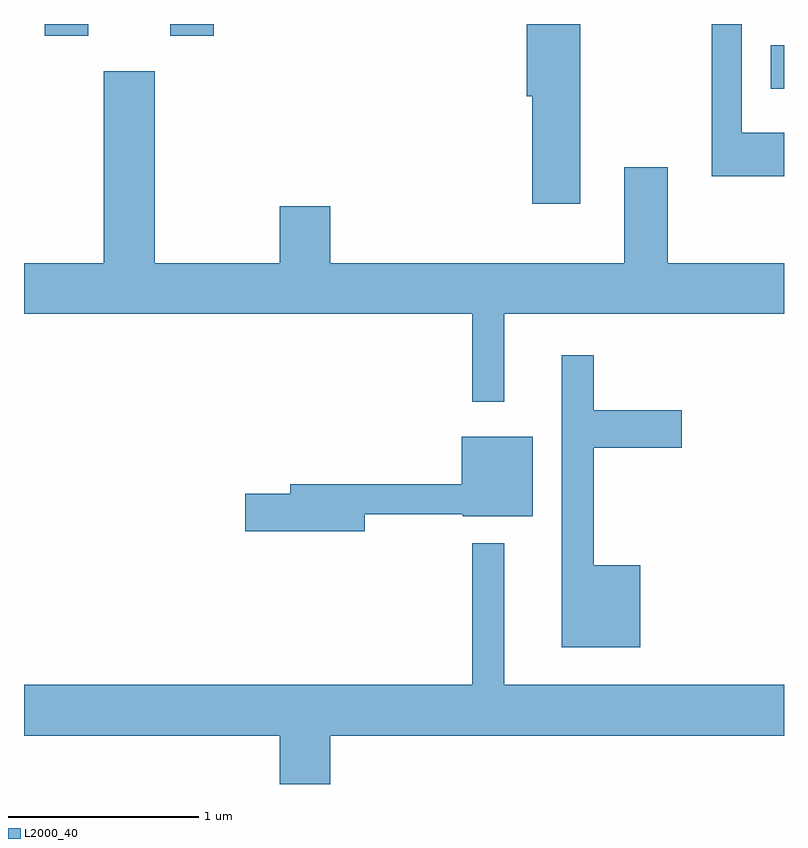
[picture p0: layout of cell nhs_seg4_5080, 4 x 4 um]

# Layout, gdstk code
import gdstk
lib = gdstk.Library(unit=1e-6, precision=1e-09)
def R(c, l, rs):  # rectangles x0, y0, x1, y1
    for r in rs: c.add(gdstk.rectangle(r[:2], r[2:], *l))
def P(c, l, *ps):  # polygons
    for p in ps: c.add(gdstk.Polygon(p, *l))
L2000_40 = (2000, 40)

nhs_seg4_5080 = lib.new_cell('nhs_seg4_5080')
R(nhs_seg4_5080, L2000_40, [(337.541,1353.641,337.611,1353.869), (333.721,1353.921,333.949,1353.982), (334.381,1353.921,334.609,1353.982)])
P(nhs_seg4_5080, L2000_40, [(337.611,1353.409),(337.389,1353.409),(337.389,1353.982),(337.231,1353.982),(337.231,1353.181),(337.611,1353.181)],
  [(336.539,1353.982),(336.256,1353.982),(336.256,1353.601),(336.286,1353.601),(336.286,1353.036),(336.539,1353.036)],
  [(336.139,1352.456),(337.611,1352.456),(337.611,1352.724),(336.999,1352.724),(336.999,1353.229),(336.771,1353.229),(336.771,1352.724),(335.224,1352.724),(335.224,1353.024),(334.956,1353.024),(334.956,1352.724),(334.299,1352.724),(334.299,1353.734),(334.031,1353.734),(334.031,1352.724),(333.611,1352.724),(333.611,1352.456),(335.971,1352.456),(335.971,1351.993),(336.139,1351.993)],
  [(336.854,1351.134),(336.609,1351.134),(336.609,1351.751),(337.074,1351.751),(337.074,1351.949),(336.609,1351.949),(336.609,1352.238),(336.441,1352.238),(336.441,1350.701),(336.854,1350.701)],
  [(335.404,1351.401),(335.92,1351.401),(335.92,1351.391),(336.289,1351.391),(336.289,1351.809),(335.916,1351.809),(335.916,1351.559),(335.011,1351.559),(335.011,1351.509),(334.776,1351.509),(334.776,1351.311),(335.404,1351.311)],
  [(335.224,1350.236),(337.611,1350.236),(337.611,1350.504),(336.139,1350.504),(336.139,1351.248),(335.971,1351.248),(335.971,1350.504),(333.611,1350.504),(333.611,1350.236),(334.956,1350.236),(334.956,1349.982),(335.224,1349.982)])

lib.write_gds('nhs_seg4_5080.gds')
